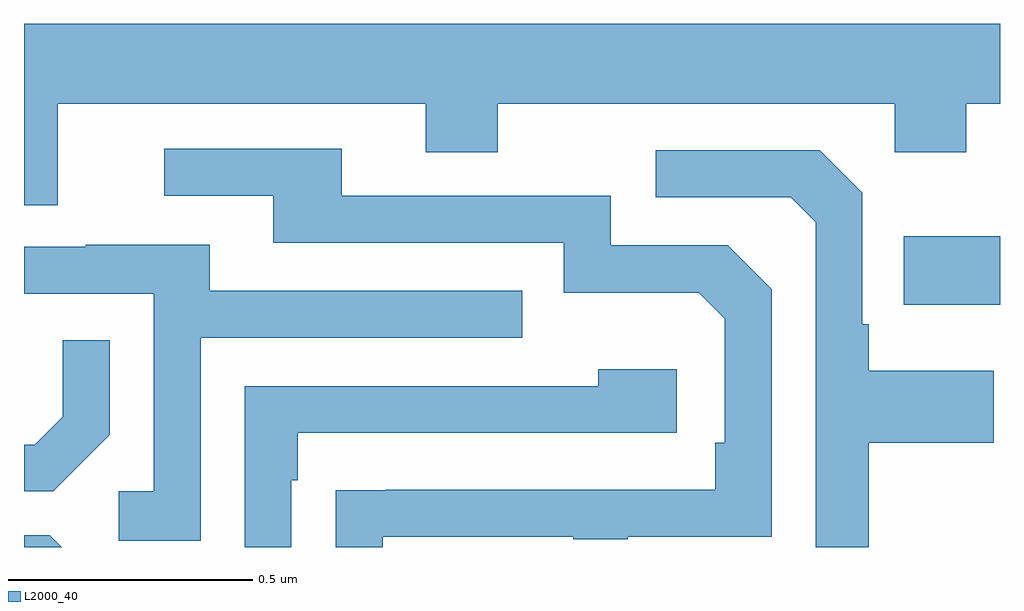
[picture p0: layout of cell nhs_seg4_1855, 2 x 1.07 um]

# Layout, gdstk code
import gdstk
lib = gdstk.Library(unit=1e-6, precision=1e-09)
def R(c, l, rs):  # rectangles x0, y0, x1, y1
    for r in rs: c.add(gdstk.rectangle(r[:2], r[2:], *l))
def P(c, l, *ps):  # polygons
    for p in ps: c.add(gdstk.Polygon(p, *l))
L2000_40 = (2000, 40)

nhs_seg4_1855 = lib.new_cell('nhs_seg4_1855')
R(nhs_seg4_1855, L2000_40, [(134.803,808.397,135,808.537)])
P(nhs_seg4_1855, L2000_40, [(133.069,808.808),(133.823,808.808),(133.823,808.709),(133.971,808.709),(133.971,808.808),(134.784,808.808),(134.784,808.709),(134.931,808.709),(134.931,808.808),(135,808.808),(135,808.972),(133,808.972),(133,808.6),(133.069,808.6)],
  [(133.735,807.921),(134.125,807.921),(134.125,807.916),(134.237,807.916),(134.237,807.921),(134.532,807.921),(134.532,808.428),(134.442,808.518),(134.202,808.518),(134.202,808.62),(133.651,808.62),(133.651,808.716),(133.287,808.716),(133.287,808.62),(133.511,808.62),(133.511,808.524),(134.106,808.524),(134.106,808.421),(134.383,808.421),(134.436,808.368),(134.436,808.114),(134.416,808.114),(134.416,808.017),(133.741,808.017),(133.741,808.016),(133.639,808.016),(133.639,807.9),(133.735,807.9)],
  [(134.731,808.114),(134.987,808.114),(134.987,808.261),(134.731,808.261),(134.731,808.357),(134.718,808.357),(134.718,808.626),(134.631,808.713),(134.295,808.713),(134.295,808.617),(134.571,808.617),(134.622,808.566),(134.622,807.9),(134.731,807.9)],
  [(133.362,808.329),(134.021,808.329),(134.021,808.425),(133.381,808.425),(133.381,808.519),(133.127,808.519),(133.127,808.515),(133,808.515),(133,808.419),(133.266,808.419),(133.266,808.014),(133.194,808.014),(133.194,807.913),(133.362,807.913)],
  [(133.176,808.13),(133.176,808.324),(133.079,808.324),(133.079,808.167),(133.022,808.11),(133,808.11),(133,808.014),(133.06,808.014)],
  [(133.548,808.037),(133.561,808.037),(133.561,808.134),(134.338,808.134),(134.338,808.264),(134.177,808.264),(134.177,808.23),(133.452,808.23),(133.452,807.9),(133.548,807.9)],
  [(133.053,807.924),(133,807.924),(133,807.9),(133.077,807.9)])

lib.write_gds('nhs_seg4_1855.gds')
